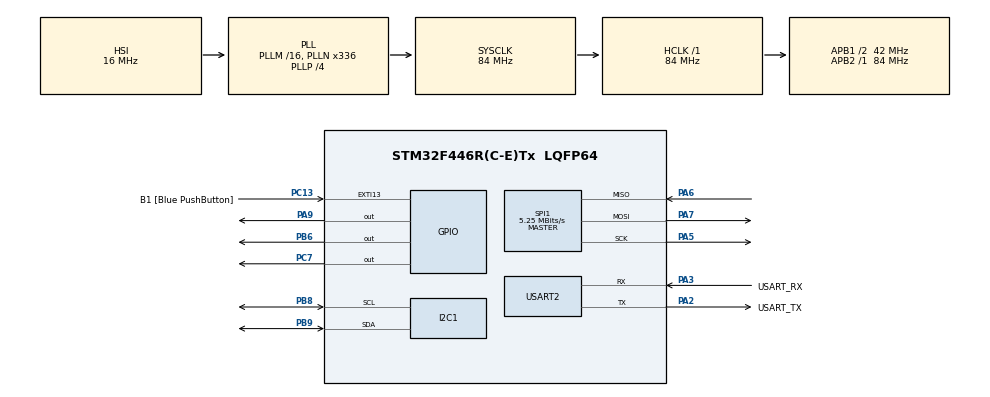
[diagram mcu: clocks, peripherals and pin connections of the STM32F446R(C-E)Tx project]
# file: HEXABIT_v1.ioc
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Mcu.Family=STM32F4
Mcu.Name=STM32F446R(C-E)Tx
Mcu.Package=LQFP64
NVIC.PriorityGroup=NVIC_PRIORITYGROUP_0
PA13.GPIO_Label=TMS
PA13.Mode=Serial_Wire
PA13.Signal=SYS_JTMS-SWDIO
PA14.GPIO_Label=TCK
PA14.Mode=Serial_Wire
PA14.Signal=SYS_JTCK-SWCLK
PA2.GPIO_Label=USART_TX
PA2.Mode=Asynchronous
PA2.Signal=USART2_TX
PA3.GPIO_Label=USART_RX
PA3.Mode=Asynchronous
PA3.Signal=USART2_RX
PA5.Mode=Full_Duplex_Master
PA5.Signal=SPI1_SCK
PA6.Mode=Full_Duplex_Master
PA6.Signal=SPI1_MISO
PA7.Mode=Full_Duplex_Master
PA7.Signal=SPI1_MOSI
PA9.Signal=GPIO_Output
PB3.GPIO_Label=SWO
PB3.Signal=SYS_JTDO-SWO
PB6.Signal=GPIO_Output
PB8.Mode=I2C
PB8.Signal=I2C1_SCL
PB9.Mode=I2C
PB9.Signal=I2C1_SDA
PC13.GPIO_Label=B1 [Blue PushButton]
PC13.GPIO_ModeDefaultEXTI=GPIO_MODE_IT_FALLING
PC13.Signal=GPXTI13
PC14-OSC32_IN.Mode=LSE-External-Oscillator
PC14-OSC32_IN.Signal=RCC_OSC32_IN
PC15-OSC32_OUT.Mode=LSE-External-Oscillator
PC15-OSC32_OUT.Signal=RCC_OSC32_OUT
PC7.Signal=GPIO_Output
PH0-OSC_IN.Mode=HSE-External-Oscillator
PH0-OSC_IN.Signal=RCC_OSC_IN
PH1-OSC_OUT.Mode=HSE-External-Oscillator
PH1-OSC_OUT.Signal=RCC_OSC_OUT
ProjectManager.HeapSize=0x200
ProjectManager.StackSize=0x400
ProjectManager.TargetToolchain=STM32CubeIDE
RCC.48MHZClocksFreq_Value=84000000
RCC.AHBFreq_Value=84000000
RCC.APB1CLKDivider=RCC_HCLK_DIV2
RCC.APB1Freq_Value=42000000
RCC.APB1TimFreq_Value=84000000
RCC.APB2Freq_Value=84000000
RCC.APB2TimFreq_Value=84000000
RCC.CortexFreq_Value=84000000
RCC.FLatency-AdvancedSettings=FLASH_LATENCY_2
RCC.HCLKFreq_Value=84000000
RCC.HSE_VALUE=8000000
RCC.HSI_VALUE=16000000
RCC.PLLN=336
RCC.PLLP=RCC_PLLP_DIV4
RCC.SYSCLKFreq_VALUE=84000000
RCC.SYSCLKSource=RCC_SYSCLKSOURCE_PLLCLK
RCC.USBFreq_Value=168000000
RCC.VCOOutputFreq_Value=336000000
SPI1.BaudRatePrescaler=SPI_BAUDRATEPRESCALER_16
SPI1.CalculateBaudRate=5.25 MBits/s
SPI1.Direction=SPI_DIRECTION_2LINES
SPI1.Mode=SPI_MODE_MASTER
SPI1.VirtualType=VM_MASTER
USART2.VirtualMode=VM_ASYNC
board=NUCLEO-F446RE

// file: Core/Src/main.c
/* USER CODE BEGIN Header */
/**
  ******************************************************************************
  * @file           : main.c
  * @brief          : Main program body
  ******************************************************************************
  * @attention
  *
  * Copyright (c) 2026 STMicroelectronics.
  * All rights reserved.
  *
  * This software is licensed under terms that can be found in the LICENSE file
  * in the root directory of this software component.
  * If no LICENSE file comes with this software, it is provided AS-IS.
  *
  ******************************************************************************
  */
/* USER CODE END Header */
#include "main.h"

/* USER CODE BEGIN Includes */
#include <stdio.h>
#include <string.h>

/* USER CODE END Includes */

/* USER CODE BEGIN PD */
#define LIS3DH_I2C_ADDR       0x19
#define LIS3DH_ADDR           (LIS3DH_I2C_ADDR << 1)
#define LIS3DH_REG_WHO_AM_I   0x0F
#define LIS3DH_REG_CTRL1 	  0x20
#define LIS3DH_REG_OUT_X_L    0x28

/* USER CODE END PD */

I2C_HandleTypeDef hi2c1;

SPI_HandleTypeDef hspi1;

UART_HandleTypeDef huart2;

void SystemClock_Config(void);
static void MX_GPIO_Init(void);
static void MX_USART2_UART_Init(void);
static void MX_I2C1_Init(void);
static void MX_SPI1_Init(void);
/* USER CODE BEGIN PFP */
// FUNCTION DELCARATIONS
void read_accel(int16_t *x, int16_t *y, int16_t *z);
int count_step(int16_t x);
float get_distance_km(uint32_t steps);
float get_distance_miles(uint32_t steps);
float get_calories(uint32_t steps);

/* USER CODE END PFP */

/* USER CODE BEGIN 0 */
int _write(int file, char *ptr, int len)
{
    HAL_UART_Transmit(&huart2, (uint8_t*)ptr, len, HAL_MAX_DELAY);
    return len;
}

/* USER CODE END 0 */

int main(void)
{

  /* MCU Configuration--------------------------------------------------------*/

  /* Reset of all peripherals, Initializes the Flash interface and the Systick. */
  HAL_Init();

  /* Configure the system clock */
  SystemClock_Config();

  /* Initialize all configured peripherals */
  MX_GPIO_Init();
  MX_USART2_UART_Init();
  MX_I2C1_Init();
  MX_SPI1_Init();
  /* USER CODE BEGIN 2 */
  uint8_t ctrl1_value = 0x57; // all axis enabled

  HAL_I2C_Mem_Write(&hi2c1,
  		  	  	  	LIS3DH_ADDR,
  					LIS3DH_REG_CTRL1,
  					I2C_MEMADD_SIZE_8BIT,
  					&ctrl1_value,
  					1,
  					HAL_MAX_DELAY);

    //ACCELOROMETER VARIABLES
    int16_t x, y, z;

    //STEP COUNTING VARIABLES
    int steps = 0;
  /* USER CODE END 2 */

  /* Infinite loop */
  while (1)
  {

    /* USER CODE BEGIN 3 */

	  read_accel(&x, &y, &z);
	  	      HAL_Delay(200);

	  	      if (count_step(x))
	  	      		  {
	  	      			  steps++;
	  	      			  printf("STEP: %d\r\n", steps);
	  	      			  float distance_km = get_distance_km(steps);
	  	      			  float distance_miles = get_distance_miles(steps);
	  	      			  printf("Distance: %.2f km, %.2f Miles: \r\n", distance_km, distance_miles);
	  	      			  float calories = get_calories(steps);
	  	      			  printf("Calories: %.2f cal, \r\n", calories);

	  	      		  }
  }
  /* USER CODE END 3 */
}

void read_accel(int16_t *x,int16_t *y,int16_t *z){
	uint8_t data[6];

	    HAL_I2C_Mem_Read(&hi2c1,
	                     LIS3DH_ADDR,
	                     LIS3DH_REG_OUT_X_L | 0x80,
	                     I2C_MEMADD_SIZE_8BIT,
	                     data,
	                     6,
	                     HAL_MAX_DELAY);

	    *x = (int16_t)(data[1] << 8 | data[0]);
	    *y = (int16_t)(data[3] << 8 | data[2]);
	    *z = (int16_t)(data[5] << 8 | data[4]);
}
int count_step(int16_t x)
{
    static int16_t prev_x = 0;
    static uint8_t state = 0;  // 0 = waiting for positive, 1 = waiting for negative
    static uint32_t last_step_time = 0;

    const int16_t THRESHOLD = 2000;
    const uint32_t MIN_INTERVAL = 350;

    uint32_t now = HAL_GetTick();

    // Step 1: detect strong positive swing
    if (state == 0 && x > THRESHOLD)
    {
        state = 1;
    }

    // Step 2: detect strong negative swing
    if (state == 1 && x < -THRESHOLD)
    {
        if (now - last_step_time > MIN_INTERVAL)
        {
            last_step_time = now;
            state = 0;
            return 1;
        }
        state = 0;
    }

    prev_x = x;
    return 0;
}

float get_distance_km(uint32_t steps){
	return steps * 0.00075f;
}

float get_distance_miles(uint32_t steps){
	return steps * 0.000466f;
}

float get_calories(uint32_t steps){
	return steps * 0.04f;
}

void SystemClock_Config(void)
{
  RCC_OscInitTypeDef RCC_OscInitStruct = {0};
  RCC_ClkInitTypeDef RCC_ClkInitStruct = {0};

  /** Configure the main internal regulator output voltage
  */
  __HAL_RCC_PWR_CLK_ENABLE();
  __HAL_PWR_VOLTAGESCALING_CONFIG(PWR_REGULATOR_VOLTAGE_SCALE3);

  /** Initializes the RCC Oscillators according to the specified parameters
  * in the RCC_OscInitTypeDef structure.
  */
  RCC_OscInitStruct.OscillatorType = RCC_OSCILLATORTYPE_HSI;
  RCC_OscInitStruct.HSIState = RCC_HSI_ON;
  RCC_OscInitStruct.HSICalibrationValue = RCC_HSICALIBRATION_DEFAULT;
  RCC_OscInitStruct.PLL.PLLState = RCC_PLL_ON;
  RCC_OscInitStruct.PLL.PLLSource = RCC_PLLSOURCE_HSI;
  RCC_OscInitStruct.PLL.PLLM = 16;
  RCC_OscInitStruct.PLL.PLLN = 336;
  RCC_OscInitStruct.PLL.PLLP = RCC_PLLP_DIV4;
  RCC_OscInitStruct.PLL.PLLQ = 2;
  RCC_OscInitStruct.PLL.PLLR = 2;
  if (HAL_RCC_OscConfig(&RCC_OscInitStruct) != HAL_OK)
  {
    Error_Handler();
  }

  /** Initializes the CPU, AHB and APB buses clocks
  */
  RCC_ClkInitStruct.ClockType = RCC_CLOCKTYPE_HCLK|RCC_CLOCKTYPE_SYSCLK
                              |RCC_CLOCKTYPE_PCLK1|RCC_CLOCKTYPE_PCLK2;
  RCC_ClkInitStruct.SYSCLKSource = RCC_SYSCLKSOURCE_PLLCLK;
  RCC_ClkInitStruct.AHBCLKDivider = RCC_SYSCLK_DIV1;
  RCC_ClkInitStruct.APB1CLKDivider = RCC_HCLK_DIV2;
  RCC_ClkInitStruct.APB2CLKDivider = RCC_HCLK_DIV1;

  if (HAL_RCC_ClockConfig(&RCC_ClkInitStruct, FLASH_LATENCY_2) != HAL_OK)
  {
    Error_Handler();
  }
}

static void MX_I2C1_Init(void)
{

  hi2c1.Instance = I2C1;
  hi2c1.Init.ClockSpeed = 100000;
  hi2c1.Init.DutyCycle = I2C_DUTYCYCLE_2;
  hi2c1.Init.OwnAddress1 = 0;
  hi2c1.Init.AddressingMode = I2C_ADDRESSINGMODE_7BIT;
  hi2c1.Init.DualAddressMode = I2C_DUALADDRESS_DISABLE;
  hi2c1.Init.OwnAddress2 = 0;
  hi2c1.Init.GeneralCallMode = I2C_GENERALCALL_DISABLE;
  hi2c1.Init.NoStretchMode = I2C_NOSTRETCH_DISABLE;
  if (HAL_I2C_Init(&hi2c1) != HAL_OK)
  {
    Error_Handler();
  }

}

static void MX_SPI1_Init(void)
{

  /* SPI1 parameter configuration*/
  hspi1.Instance = SPI1;
  hspi1.Init.Mode = SPI_MODE_MASTER;
  hspi1.Init.Direction = SPI_DIRECTION_2LINES;
  hspi1.Init.DataSize = SPI_DATASIZE_8BIT;
  hspi1.Init.CLKPolarity = SPI_POLARITY_LOW;
  hspi1.Init.CLKPhase = SPI_PHASE_1EDGE;
  hspi1.Init.NSS = SPI_NSS_SOFT;
  hspi1.Init.BaudRatePrescaler = SPI_BAUDRATEPRESCALER_16;
  hspi1.Init.FirstBit = SPI_FIRSTBIT_MSB;
  hspi1.Init.TIMode = SPI_TIMODE_DISABLE;
  hspi1.Init.CRCCalculation = SPI_CRCCALCULATION_DISABLE;
  hspi1.Init.CRCPolynomial = 10;
  if (HAL_SPI_Init(&hspi1) != HAL_OK)
  {
    Error_Handler();
  }

}

static void MX_USART2_UART_Init(void)
{

  huart2.Instance = USART2;
  huart2.Init.BaudRate = 115200;
  huart2.Init.WordLength = UART_WORDLENGTH_8B;
  huart2.Init.StopBits = UART_STOPBITS_1;
  huart2.Init.Parity = UART_PARITY_NONE;
  huart2.Init.Mode = UART_MODE_TX_RX;
  huart2.Init.HwFlowCtl = UART_HWCONTROL_NONE;
  huart2.Init.OverSampling = UART_OVERSAMPLING_16;
  if (HAL_UART_Init(&huart2) != HAL_OK)
  {
    Error_Handler();
  }

}

static void MX_GPIO_Init(void)
{
  GPIO_InitTypeDef GPIO_InitStruct = {0};

  /* GPIO Ports Clock Enable */
  __HAL_RCC_GPIOC_CLK_ENABLE();
  __HAL_RCC_GPIOH_CLK_ENABLE();
  __HAL_RCC_GPIOA_CLK_ENABLE();
  __HAL_RCC_GPIOB_CLK_ENABLE();

  /*Configure GPIO pin Output Level */
  HAL_GPIO_WritePin(GPIOC, GPIO_PIN_7, GPIO_PIN_RESET);

  /*Configure GPIO pin Output Level */
  HAL_GPIO_WritePin(GPIOA, GPIO_PIN_9, GPIO_PIN_RESET);

  /*Configure GPIO pin Output Level */
  HAL_GPIO_WritePin(GPIOB, GPIO_PIN_6, GPIO_PIN_RESET);

  /*Configure GPIO pin : B1_Pin */
  GPIO_InitStruct.Pin = B1_Pin;
  GPIO_InitStruct.Mode = GPIO_MODE_IT_FALLING;
  GPIO_InitStruct.Pull = GPIO_NOPULL;
  HAL_GPIO_Init(B1_GPIO_Port, &GPIO_InitStruct);

  /*Configure GPIO pin : PC7 */
  GPIO_InitStruct.Pin = GPIO_PIN_7;
  GPIO_InitStruct.Mode = GPIO_MODE_OUTPUT_PP;
  GPIO_InitStruct.Pull = GPIO_NOPULL;
  GPIO_InitStruct.Speed = GPIO_SPEED_FREQ_LOW;
  HAL_GPIO_Init(GPIOC, &GPIO_InitStruct);

  /*Configure GPIO pin : PA9 */
  GPIO_InitStruct.Pin = GPIO_PIN_9;
  GPIO_InitStruct.Mode = GPIO_MODE_OUTPUT_PP;
  GPIO_InitStruct.Pull = GPIO_NOPULL;
  GPIO_InitStruct.Speed = GPIO_SPEED_FREQ_LOW;
  HAL_GPIO_Init(GPIOA, &GPIO_InitStruct);

  /*Configure GPIO pin : PB6 */
  GPIO_InitStruct.Pin = GPIO_PIN_6;
  GPIO_InitStruct.Mode = GPIO_MODE_OUTPUT_PP;
  GPIO_InitStruct.Pull = GPIO_NOPULL;
  GPIO_InitStruct.Speed = GPIO_SPEED_FREQ_LOW;
  HAL_GPIO_Init(GPIOB, &GPIO_InitStruct);

}

void Error_Handler(void)
{
  __disable_irq();
  while (1)
  {
  }
}
